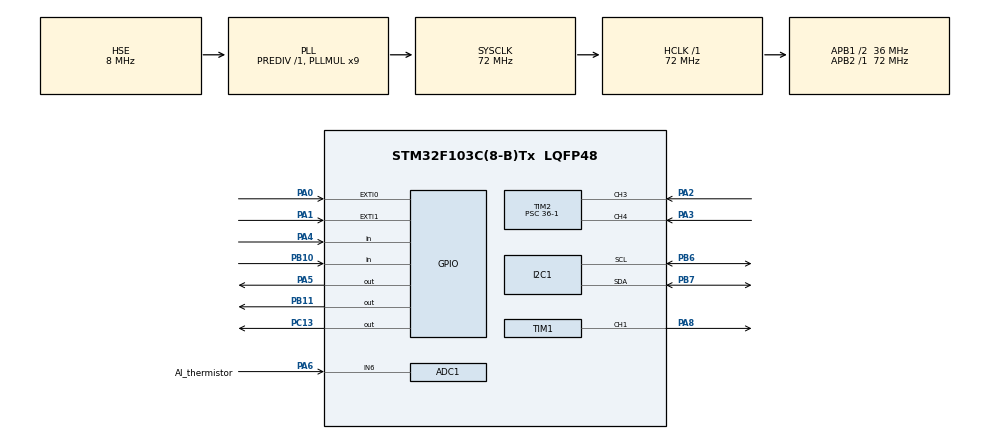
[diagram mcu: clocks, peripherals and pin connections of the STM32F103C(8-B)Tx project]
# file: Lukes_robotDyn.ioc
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ADC1.Channel-0\#ChannelRegularConversion=ADC_CHANNEL_6
ADC1.NbrOfConversionFlag=1
ADC1.Rank-0\#ChannelRegularConversion=1
ADC1.SamplingTime-0\#ChannelRegularConversion=ADC_SAMPLETIME_1CYCLE_5
ADC1.master=1
Mcu.Family=STM32F1
Mcu.Name=STM32F103C(8-B)Tx
Mcu.Package=LQFP48
NVIC.EXTI0_IRQn=true\:0\:0\:false\:false\:true\:true\:true\:true
NVIC.EXTI1_IRQn=true\:0\:0\:false\:false\:true\:true\:true\:true
NVIC.PriorityGroup=NVIC_PRIORITYGROUP_4
NVIC.TIM2_IRQn=true\:0\:0\:false\:false\:true\:true\:true\:true
NVIC.TIM3_IRQn=true\:0\:0\:false\:false\:true\:true\:true\:true
PA0-WKUP.GPIO_ModeDefaultEXTI=GPIO_MODE_IT_RISING_FALLING
PA0-WKUP.GPIO_PuPd=GPIO_PULLUP
PA0-WKUP.Signal=GPXTI0
PA1.GPIO_ModeDefaultEXTI=GPIO_MODE_IT_RISING_FALLING
PA1.GPIO_PuPd=GPIO_PULLUP
PA1.Signal=GPXTI1
PA2.GPIO_PuPd=GPIO_PULLUP
PA2.Signal=S_TIM2_CH3
PA3.GPIO_PuPd=GPIO_PULLUP
PA3.Signal=S_TIM2_CH4
PA4.Signal=GPIO_Input
PA5.Signal=GPIO_Output
PA6.GPIO_Label=AI_thermistor
PA6.Signal=ADCx_IN6
PA8.Signal=S_TIM1_CH1
PB10.Signal=GPIO_Input
PB11.Signal=GPIO_Output
PB6.Mode=I2C
PB6.Signal=I2C1_SCL
PB7.Mode=I2C
PB7.Signal=I2C1_SDA
PC13-TAMPER-RTC.Signal=GPIO_Output
PD0-OSC_IN.Mode=HSE-External-Oscillator
PD0-OSC_IN.Signal=RCC_OSC_IN
PD1-OSC_OUT.Mode=HSE-External-Oscillator
PD1-OSC_OUT.Signal=RCC_OSC_OUT
ProjectManager.HeapSize=0x200
ProjectManager.StackSize=0x400
ProjectManager.TargetToolchain=STM32CubeIDE
RCC.ADCPresc=RCC_ADCPCLK2_DIV6
RCC.AHBFreq_Value=72000000
RCC.APB1CLKDivider=RCC_HCLK_DIV2
RCC.APB1Freq_Value=36000000
RCC.APB1TimFreq_Value=72000000
RCC.APB2Freq_Value=72000000
RCC.APB2TimFreq_Value=72000000
RCC.HCLKFreq_Value=72000000
RCC.PLLMUL=RCC_PLL_MUL9
RCC.PLLSourceVirtual=RCC_PLLSOURCE_HSE
RCC.SYSCLKFreq_VALUE=72000000
RCC.SYSCLKSource=RCC_SYSCLKSOURCE_PLLCLK
RCC.USBFreq_Value=72000000
SH.ADCx_IN6.0=ADC1_IN6,IN6
SH.S_TIM1_CH1.0=TIM1_CH1,PWM Generation1 CH1
SH.S_TIM2_CH3.0=TIM2_CH3,Input_Capture3_from_TI3
SH.S_TIM2_CH4.0=TIM2_CH4,Input_Capture4_from_TI4
TIM1.Channel-PWM\ Generation1\ CH1=TIM_CHANNEL_1
TIM1.Period=1000 - 1
TIM1.Prescaler=720 - 1
TIM2.Channel-Input_Capture3_from_TI3=TIM_CHANNEL_3
TIM2.Channel-Input_Capture4_from_TI4=TIM_CHANNEL_4
TIM2.ICFilter_CH3=8
TIM2.ICFilter_CH4=8
TIM2.Period=100-1
TIM2.Prescaler=36-1
TIM3.Period=1000-1
TIM3.Prescaler=72-1
TIM4.Prescaler=72-1
VP_SYS_VS_ND.Mode=No_Debug
VP_TIM3_VS_ClockSourceINT.Mode=Internal
VP_TIM4_VS_ClockSourceINT.Mode=Internal
board=custom

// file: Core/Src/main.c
/* USER CODE BEGIN Header */
/**
 ******************************************************************************
 * @file           : main.c
 * @brief          : Main program body
 ******************************************************************************
 * @attention
 *
 * Copyright (c) 2024 STMicroelectronics.
 * All rights reserved.
 *
 * This software is licensed under terms that can be found in the LICENSE file
 * in the root directory of this software component.
 * If no LICENSE file comes with this software, it is provided AS-IS.
 *
 ******************************************************************************
 */
/* USER CODE END Header */
#include "main.h"

/* USER CODE BEGIN Includes */
#include "I2C_LCD.h"
#include "I2C_LCD_cfg.h"
#include <stdio.h>
#include <stdbool.h>
#include <string.h>
#include <math.h>
#include <menu.h>
#include <stdlib.h>
/* USER CODE END Includes */

/* USER CODE BEGIN PTD */
typedef union
{
  uint32_t counter;
  volatile uint32_t counterPrev;
  volatile int16_t position;
} EncoderParam;

typedef struct
{
  float kp;
  float ki;
  float previousError;
  float integral;
} PIDController;
/* USER CODE END PTD */

/* USER CODE BEGIN PD */
#define MENU_UP 1
#define MENU_DOWN -1
#define MENU_LEFT 1
#define MENU_RIGHT -1
/* USER CODE END PD */

ADC_HandleTypeDef hadc1;

I2C_HandleTypeDef hi2c1;

TIM_HandleTypeDef htim1;
TIM_HandleTypeDef htim2;
TIM_HandleTypeDef htim3;
TIM_HandleTypeDef htim4;

/* USER CODE BEGIN PV */
float action = 0;
float temp = 15;
PIDController pid = {0.1, 0.01, 0, 0};

float setTemp = 20;
uint16_t setTime = 30;
uint8_t programCountdown = 0;

// uint32_t counter = 0;
char buffer[17];
uint32_t counter = 0;

// Debounce
volatile uint32_t tickCounter = 0;
volatile uint8_t debounceActive = 0;

/* USER CODE END PV */

void SystemClock_Config(void);
static void MX_GPIO_Init(void);
static void MX_TIM2_Init(void);
static void MX_TIM3_Init(void);
static void MX_TIM1_Init(void);
static void MX_I2C1_Init(void);
static void MX_TIM4_Init(void);
static void MX_ADC1_Init(void);
/* USER CODE BEGIN PFP */
/* Private Function Prototypes Declaration*/
void updateLCD(void);

void toggleLED13(void);

void encoderCallback(int8_t direction);

void updateTemperatureControl(uint16_t rawAdc);

void handleEncoderInterrupt(uint16_t GPIO_Pin);
uint16_t handleGetAdc1(void);
void handlerTimerInterrupt(TIM_HandleTypeDef *htim);

float calcThermistorTemp(uint16_t rawAdc);
float calcRegulatorAction(PIDController *pid, float setpoint,
                          float measuredValue);
/* USER CODE END PFP */

/* USER CODE BEGIN 0 */
/* Function Definition*/

// void writeLCDFormattedValue(int row, int column, const char *label, float value) {
//     char buffer[17];
//     sprintf(buffer, "%s%.2f", label, value);
//     I2C_LCD_SetCursor(row, column, 0);
//     I2C_LCD_WriteString(0, buffer);
// }
void updateLCD(void)
{

  MenuItem *pMenuItem = getCurrentMenuItem();
  size_t lengthName = strlen(pMenuItem->name);
  buffer[0] = '\0';
  if (pMenuItem)
  {

    I2C_LCD_ClearRow(0, 0);
    I2C_LCD_WriteString(0, pMenuItem->name);

    if (strcmp(pMenuItem->action, "time") == 0)
    {
      sprintf(buffer, "%d:%02d", pMenuItem->value / 60,
              pMenuItem->value % 60);
      setTime = pMenuItem->value;
    }
    else if (strcmp(pMenuItem->action, "temp") == 0)
    {
      sprintf(buffer, "%d %cC", pMenuItem->value, 0xDF);
      setTemp = pMenuItem->value;
    }
    else if (strcmp(pMenuItem->action, "start") == 0)
    {
      programCountdown = 1;
      I2C_LCD_ClearRow(0, 1);
    }

    if (buffer[0] != '\0')
    {
      I2C_LCD_SetCursor(0, lengthName + 1, 0);
      I2C_LCD_WriteString(0, buffer);
    }
  }
  else
  {
    I2C_LCD_SetCursor(0, 0, 0);
    I2C_LCD_WriteString(0, "ERROR");
  }
}

void resetMenu(void)
{
  programCountdown = 0;
  action = 0;
  setTime = 30;

  I2C_LCD_ClearRow(0, 1);
  I2C_LCD_SetCursor(0, 0, 1);
  I2C_LCD_WriteString(0, "-- DONE --   ");
  moveParentChild(-1);
  moveParentChild(-1);
  updateLCD();
}
//  thermistor measure
float calcThermistorTemp(uint16_t rawAdc)
{
  const uint16_t adcResolution = 4095;
  const uint16_t serialResistance = 10570; // ohm

  // avoid divide by zero
  if (rawAdc == 0)
    return -999;

  // convert rawAdc to resistance of thermistor with 10k
  float resistance = serialResistance * rawAdc / (adcResolution - rawAdc);

  //	 Steinhart-Hart equation
  float temp = log(resistance);
  temp = 1.0 / (0.001129148 + (0.000234125 + (0.0000000876741 * temp * temp)) * temp);
  temp = temp - 273.15;

  // calibration
  //	temp = temp * 1; // gain
  temp = temp - 5; // offset

  return temp;
}

// calculate PI regulation action
float calcRegulatorAction(PIDController *pid, float setpoint,
                          float measuredValue)
{
  const float dt = 0.5;
  float errorLimit = 60;

  float error = setpoint - measuredValue;

  // P
  float proportional = pid->kp * error;

  // I
  // anti wind-up
  pid->integral += error * dt;

  if (pid->integral > errorLimit)
  {
    pid->integral = errorLimit;
  }
  else if (pid->integral < -errorLimit)
  {
    pid->integral = -errorLimit;
  }

  float integral = pid->ki * pid->integral;

  // I
  //	pid->integral += stepError;
  //	integral = pid->ki * pid->integral;

  // D
  // Float derivative = (error - pid->previous_error) / dt;

  float output = proportional + integral;

  // Saturate output to range -1 to 1
  output = (output > 1) ? 1.0f : output;
  output = (output < -1) ? -1.0f : output;

  return output;
}

void toggleLED13(void)
{
  HAL_GPIO_TogglePin(GPIOC, GPIO_PIN_13);
}

void encoderCallback(int8_t direction)
{
  if (!programCountdown)
  {
    moveSibling(direction);
    updateLCD();
  }
}

void handleEncoderInterrupt(uint16_t GPIO_Pin)
{
  static GPIO_PinState A, B, prevA = GPIO_PIN_SET, prevB = GPIO_PIN_SET;

  if (!programCountdown)
  {
    if (GPIO_Pin == GPIO_PIN_0)
    {
      // CCW decoder
      B = HAL_GPIO_ReadPin(GPIOA, GPIO_PIN_1);

      if (B != prevB)
      {
        if (B == GPIO_PIN_SET)
        {
          if (A == GPIO_PIN_RESET)
          {
            encoderCallback(MENU_LEFT);
          }
        }
        prevB = B;
      }
    }

    if (GPIO_Pin == GPIO_PIN_1)
    {
      // CCW decoder
      A = HAL_GPIO_ReadPin(GPIOA, GPIO_PIN_0);

      if (A != prevA)
      {
        if (A == GPIO_PIN_SET)
        {
          if (B == GPIO_PIN_RESET)
          {
            encoderCallback(MENU_RIGHT);
          }
        }
        prevA = A;
      }
    }
  }
}

uint16_t handleGetAdc1(void)
{
  uint16_t rawAdc = 0;
  HAL_ADC_Start(&hadc1);
  if (HAL_ADC_PollForConversion(&hadc1, 10) == HAL_OK)
  {
    rawAdc = HAL_ADC_GetValue(&hadc1);
  }
  HAL_ADC_Stop(&hadc1);
  return rawAdc;
}

void updateTemperatureControl(uint16_t rawAdc)
{
  temp = calcThermistorTemp(rawAdc);
  action = calcRegulatorAction(&pid, setTemp, temp);

  if (action > 0)
  {
    __HAL_TIM_SET_COMPARE(&htim1, TIM_CHANNEL_1, (1000 * action) - 1);
  }
  else
  {
    __HAL_TIM_SET_COMPARE(&htim1, TIM_CHANNEL_1, 0);
  }
}

void handlerTimerInterrupt(TIM_HandleTypeDef *htim)
{
  // interrupt 1ms
  static uint32_t debounceCounter = 0;
  static uint32_t programCounter = 0;

  if (debounceActive)
  {
    debounceCounter++;

    if (debounceCounter >= 500)
    {
      debounceCounter = 0;
      debounceActive = 0;
    }
  }

  if (programCountdown)
  {
    programCounter++;
    if (programCounter >= 500)
    {
      programCounter = 0;
      setTime--;

      toggleLED13();
      updateTemperatureControl(handleGetAdc1());

      if (setTime <= 0)
      {
        resetMenu();
      }
    }
  }
}
/*
 * --- HAL FUNCTIONS ---
 * */

void HAL_GPIO_EXTI_Callback(uint16_t GPIO_Pin)
{
  if (!programCountdown)
  {
    handleEncoderInterrupt(GPIO_Pin);
  }
}

void HAL_TIM_IC_CaptureCallback(TIM_HandleTypeDef *htim)
{
  if (htim->Instance == TIM2)
  {
    if (!debounceActive && !programCountdown)
    {
      if (htim->Channel == HAL_TIM_ACTIVE_CHANNEL_3)
      {
        HAL_GPIO_TogglePin(GPIOA, GPIO_PIN_5);
        moveParentChild(MENU_UP);
        updateLCD();
      }
      if (htim->Channel == HAL_TIM_ACTIVE_CHANNEL_4)
      {
        HAL_GPIO_TogglePin(GPIOA, GPIO_PIN_5);
        moveParentChild(MENU_DOWN);
        updateLCD();
      }
      debounceActive = 1;
      tickCounter = 0;
    }
  }
  else if (htim->Instance == TIM3)
  {
    HAL_GPIO_TogglePin(GPIOA, GPIO_PIN_5);
  }
}

void HAL_TIM_PeriodElapsedCallback(TIM_HandleTypeDef *htim)
{

  if (htim->Instance == TIM3)
  {
    handlerTimerInterrupt(htim);
  }
}

/* USER CODE END 0 */

int main(void)
{

  /* MCU Configuration--------------------------------------------------------*/

  /* Reset of all peripherals, Initializes the Flash interface and the Systick. */
  HAL_Init();

  /* Configure the system clock */
  SystemClock_Config();

  /* Initialize all configured peripherals */
  MX_GPIO_Init();
  MX_TIM2_Init();
  MX_TIM3_Init();
  MX_TIM1_Init();
  MX_I2C1_Init();
  MX_TIM4_Init();
  MX_ADC1_Init();
  /* USER CODE BEGIN 2 */

  HAL_TIM_PWM_Start(&htim1, TIM_CHANNEL_1);
  HAL_TIM_IC_Start_IT(&htim2, TIM_CHANNEL_3);
  HAL_TIM_IC_Start_IT(&htim2, TIM_CHANNEL_4);
  HAL_TIM_Base_Start_IT(&htim3);
  HAL_TIM_Base_Start_IT(&htim4);

  initMenu();

  // Inicializace LCD
  I2C_LCD_Init(0);
  I2C_LCD_Clear(0);

  I2C_LCD_SetCursor(0, 0, 0);
  I2C_LCD_WriteString(0, getCurrentMenuItem()->name);

  /* USER CODE END 2 */

  /* Infinite loop */
  /* USER CODE BEGIN WHILE */
  while (1)
  {
    if (counter > 40)
    {
      counter = 0;
    }
    if (counter % 4 == 0)
    {

      sprintf(buffer, "%ld", counter / 4);
      I2C_LCD_SetCursor(0, 15, 0);
      I2C_LCD_WriteString(0, buffer);
    }

    if (counter % 5 == 0)
    {
      // counter
      I2C_LCD_SetCursor(0, 11, 0);
      int tempset_int = (int)(setTemp);
      sprintf(buffer, "T%d", tempset_int);
      I2C_LCD_WriteString(0, buffer);

      if (programCountdown)
      {
        // row0
        I2C_LCD_SetCursor(0, 0, 0);
        sprintf(buffer, "Count:%d:%02d", setTime / 60, setTime % 60);
        I2C_LCD_SetCursor(0, 0, 0);
        I2C_LCD_WriteString(0, buffer);

        I2C_LCD_SetCursor(0, 0, 1);
        int temp_int = (int)(temp * 10);
        sprintf(buffer, "T:%d.%dC", temp_int / 10, abs(temp_int % 10));
        I2C_LCD_WriteString(0, buffer);

        I2C_LCD_SetCursor(0, 9, 1);
        int action_int = (int)(action * 10);
        if (action_int > 0)
        {
          sprintf(buffer, "A:.%d", abs(action_int % 10));
        }
        else
        {
          sprintf(buffer, "A:-.%d", abs(action_int % 10));
        }
        I2C_LCD_WriteString(0, buffer);
      }
    }
    counter++;
    HAL_Delay(200);
    /* USER CODE END WHILE */

  }
}

void SystemClock_Config(void)
{
  RCC_OscInitTypeDef RCC_OscInitStruct = {0};
  RCC_ClkInitTypeDef RCC_ClkInitStruct = {0};
  RCC_PeriphCLKInitTypeDef PeriphClkInit = {0};

  /** Initializes the RCC Oscillators according to the specified parameters
   * in the RCC_OscInitTypeDef structure.
   */
  RCC_OscInitStruct.OscillatorType = RCC_OSCILLATORTYPE_HSE;
  RCC_OscInitStruct.HSEState = RCC_HSE_ON;
  RCC_OscInitStruct.HSEPredivValue = RCC_HSE_PREDIV_DIV1;
  RCC_OscInitStruct.HSIState = RCC_HSI_ON;
  RCC_OscInitStruct.PLL.PLLState = RCC_PLL_ON;
  RCC_OscInitStruct.PLL.PLLSource = RCC_PLLSOURCE_HSE;
  RCC_OscInitStruct.PLL.PLLMUL = RCC_PLL_MUL9;
  if (HAL_RCC_OscConfig(&RCC_OscInitStruct) != HAL_OK)
  {
    Error_Handler();
  }

  /** Initializes the CPU, AHB and APB buses clocks
   */
  RCC_ClkInitStruct.ClockType = RCC_CLOCKTYPE_HCLK | RCC_CLOCKTYPE_SYSCLK | RCC_CLOCKTYPE_PCLK1 | RCC_CLOCKTYPE_PCLK2;
  RCC_ClkInitStruct.SYSCLKSource = RCC_SYSCLKSOURCE_PLLCLK;
  RCC_ClkInitStruct.AHBCLKDivider = RCC_SYSCLK_DIV1;
  RCC_ClkInitStruct.APB1CLKDivider = RCC_HCLK_DIV2;
  RCC_ClkInitStruct.APB2CLKDivider = RCC_HCLK_DIV1;

  if (HAL_RCC_ClockConfig(&RCC_ClkInitStruct, FLASH_LATENCY_2) != HAL_OK)
  {
    Error_Handler();
  }
  PeriphClkInit.PeriphClockSelection = RCC_PERIPHCLK_ADC;
  PeriphClkInit.AdcClockSelection = RCC_ADCPCLK2_DIV6;
  if (HAL_RCCEx_PeriphCLKConfig(&PeriphClkInit) != HAL_OK)
  {
    Error_Handler();
  }
}

static void MX_ADC1_Init(void)
{

  ADC_ChannelConfTypeDef sConfig = {0};

  /** Common config
   */
  hadc1.Instance = ADC1;
  hadc1.Init.ScanConvMode = ADC_SCAN_DISABLE;
  hadc1.Init.ContinuousConvMode = DISABLE;
  hadc1.Init.DiscontinuousConvMode = DISABLE;
  hadc1.Init.ExternalTrigConv = ADC_SOFTWARE_START;
  hadc1.Init.DataAlign = ADC_DATAALIGN_RIGHT;
  hadc1.Init.NbrOfConversion = 1;
  if (HAL_ADC_Init(&hadc1) != HAL_OK)
  {
    Error_Handler();
  }

  /** Configure Regular Channel
   */
  sConfig.Channel = ADC_CHANNEL_6;
  sConfig.Rank = ADC_REGULAR_RANK_1;
  sConfig.SamplingTime = ADC_SAMPLETIME_1CYCLE_5;
  if (HAL_ADC_ConfigChannel(&hadc1, &sConfig) != HAL_OK)
  {
    Error_Handler();
  }
}

static void MX_I2C1_Init(void)
{

  hi2c1.Instance = I2C1;
  hi2c1.Init.ClockSpeed = 100000;
  hi2c1.Init.DutyCycle = I2C_DUTYCYCLE_2;
  hi2c1.Init.OwnAddress1 = 0;
  hi2c1.Init.AddressingMode = I2C_ADDRESSINGMODE_7BIT;
  hi2c1.Init.DualAddressMode = I2C_DUALADDRESS_DISABLE;
  hi2c1.Init.OwnAddress2 = 0;
  hi2c1.Init.GeneralCallMode = I2C_GENERALCALL_DISABLE;
  hi2c1.Init.NoStretchMode = I2C_NOSTRETCH_DISABLE;
  if (HAL_I2C_Init(&hi2c1) != HAL_OK)
  {
    Error_Handler();
  }
}

static void MX_TIM1_Init(void)
{

  TIM_MasterConfigTypeDef sMasterConfig = {0};
  TIM_OC_InitTypeDef sConfigOC = {0};
  TIM_BreakDeadTimeConfigTypeDef sBreakDeadTimeConfig = {0};

  htim1.Instance = TIM1;
  htim1.Init.Prescaler = 720 - 1;
  htim1.Init.CounterMode = TIM_COUNTERMODE_UP;
  htim1.Init.Period = 1000 - 1;
  htim1.Init.ClockDivision = TIM_CLOCKDIVISION_DIV1;
  htim1.Init.RepetitionCounter = 0;
  htim1.Init.AutoReloadPreload = TIM_AUTORELOAD_PRELOAD_DISABLE;
  if (HAL_TIM_PWM_Init(&htim1) != HAL_OK)
  {
    Error_Handler();
  }
  sMasterConfig.MasterOutputTrigger = TIM_TRGO_RESET;
  sMasterConfig.MasterSlaveMode = TIM_MASTERSLAVEMODE_DISABLE;
  if (HAL_TIMEx_MasterConfigSynchronization(&htim1, &sMasterConfig) != HAL_OK)
  {
    Error_Handler();
  }
  sConfigOC.OCMode = TIM_OCMODE_PWM1;
  sConfigOC.Pulse = 0;
  sConfigOC.OCPolarity = TIM_OCPOLARITY_HIGH;
  sConfigOC.OCNPolarity = TIM_OCNPOLARITY_HIGH;
  sConfigOC.OCFastMode = TIM_OCFAST_DISABLE;
  sConfigOC.OCIdleState = TIM_OCIDLESTATE_RESET;
  sConfigOC.OCNIdleState = TIM_OCNIDLESTATE_RESET;
  if (HAL_TIM_PWM_ConfigChannel(&htim1, &sConfigOC, TIM_CHANNEL_1) != HAL_OK)
  {
    Error_Handler();
  }
  sBreakDeadTimeConfig.OffStateRunMode = TIM_OSSR_DISABLE;
  sBreakDeadTimeConfig.OffStateIDLEMode = TIM_OSSI_DISABLE;
  sBreakDeadTimeConfig.LockLevel = TIM_LOCKLEVEL_OFF;
  sBreakDeadTimeConfig.DeadTime = 0;
  sBreakDeadTimeConfig.BreakState = TIM_BREAK_DISABLE;
  sBreakDeadTimeConfig.BreakPolarity = TIM_BREAKPOLARITY_HIGH;
  sBreakDeadTimeConfig.AutomaticOutput = TIM_AUTOMATICOUTPUT_DISABLE;
  if (HAL_TIMEx_ConfigBreakDeadTime(&htim1, &sBreakDeadTimeConfig) != HAL_OK)
  {
    Error_Handler();
  }
  HAL_TIM_MspPostInit(&htim1);
}

static void MX_TIM2_Init(void)
{

  TIM_MasterConfigTypeDef sMasterConfig = {0};
  TIM_IC_InitTypeDef sConfigIC = {0};

  htim2.Instance = TIM2;
  htim2.Init.Prescaler = 36 - 1;
  htim2.Init.CounterMode = TIM_COUNTERMODE_UP;
  htim2.Init.Period = 100 - 1;
  htim2.Init.ClockDivision = TIM_CLOCKDIVISION_DIV1;
  htim2.Init.AutoReloadPreload = TIM_AUTORELOAD_PRELOAD_DISABLE;
  if (HAL_TIM_IC_Init(&htim2) != HAL_OK)
  {
    Error_Handler();
  }
  sMasterConfig.MasterOutputTrigger = TIM_TRGO_RESET;
  sMasterConfig.MasterSlaveMode = TIM_MASTERSLAVEMODE_DISABLE;
  if (HAL_TIMEx_MasterConfigSynchronization(&htim2, &sMasterConfig) != HAL_OK)
  {
    Error_Handler();
  }
  sConfigIC.ICPolarity = TIM_INPUTCHANNELPOLARITY_RISING;
  sConfigIC.ICSelection = TIM_ICSELECTION_DIRECTTI;
  sConfigIC.ICPrescaler = TIM_ICPSC_DIV1;
  sConfigIC.ICFilter = 8;
  if (HAL_TIM_IC_ConfigChannel(&htim2, &sConfigIC, TIM_CHANNEL_3) != HAL_OK)
  {
    Error_Handler();
  }
  if (HAL_TIM_IC_ConfigChannel(&htim2, &sConfigIC, TIM_CHANNEL_4) != HAL_OK)
  {
    Error_Handler();
  }
}

static void MX_TIM3_Init(void)
{

  TIM_ClockConfigTypeDef sClockSourceConfig = {0};
  TIM_MasterConfigTypeDef sMasterConfig = {0};

  htim3.Instance = TIM3;
  htim3.Init.Prescaler = 72 - 1;
  htim3.Init.CounterMode = TIM_COUNTERMODE_UP;
  htim3.Init.Period = 1000 - 1;
  htim3.Init.ClockDivision = TIM_CLOCKDIVISION_DIV1;
  htim3.Init.AutoReloadPreload = TIM_AUTORELOAD_PRELOAD_DISABLE;
  if (HAL_TIM_Base_Init(&htim3) != HAL_OK)
  {
    Error_Handler();
  }
  sClockSourceConfig.ClockSource = TIM_CLOCKSOURCE_INTERNAL;
  if (HAL_TIM_ConfigClockSource(&htim3, &sClockSourceConfig) != HAL_OK)
  {
    Error_Handler();
  }
  sMasterConfig.MasterOutputTrigger = TIM_TRGO_RESET;
  sMasterConfig.MasterSlaveMode = TIM_MASTERSLAVEMODE_DISABLE;
  if (HAL_TIMEx_MasterConfigSynchronization(&htim3, &sMasterConfig) != HAL_OK)
  {
    Error_Handler();
  }
}

static void MX_TIM4_Init(void)
{

  TIM_ClockConfigTypeDef sClockSourceConfig = {0};
  TIM_MasterConfigTypeDef sMasterConfig = {0};

  htim4.Instance = TIM4;
  htim4.Init.Prescaler = 72 - 1;
  htim4.Init.CounterMode = TIM_COUNTERMODE_UP;
  htim4.Init.Period = 65535;
  htim4.Init.ClockDivision = TIM_CLOCKDIVISION_DIV1;
  htim4.Init.AutoReloadPreload = TIM_AUTORELOAD_PRELOAD_DISABLE;
  if (HAL_TIM_Base_Init(&htim4) != HAL_OK)
  {
    Error_Handler();
  }
  sClockSourceConfig.ClockSource = TIM_CLOCKSOURCE_INTERNAL;
  if (HAL_TIM_ConfigClockSource(&htim4, &sClockSourceConfig) != HAL_OK)
  {
    Error_Handler();
  }
  sMasterConfig.MasterOutputTrigger = TIM_TRGO_RESET;
  sMasterConfig.MasterSlaveMode = TIM_MASTERSLAVEMODE_DISABLE;
  if (HAL_TIMEx_MasterConfigSynchronization(&htim4, &sMasterConfig) != HAL_OK)
  {
    Error_Handler();
  }
}

static void MX_GPIO_Init(void)
{
  GPIO_InitTypeDef GPIO_InitStruct = {0};

  /* GPIO Ports Clock Enable */
  __HAL_RCC_GPIOC_CLK_ENABLE();
  __HAL_RCC_GPIOD_CLK_ENABLE();
  __HAL_RCC_GPIOA_CLK_ENABLE();
  __HAL_RCC_GPIOB_CLK_ENABLE();

  /*Configure GPIO pin Output Level */
  HAL_GPIO_WritePin(GPIOC, GPIO_PIN_13, GPIO_PIN_RESET);

  /*Configure GPIO pin Output Level */
  HAL_GPIO_WritePin(GPIOA, GPIO_PIN_5, GPIO_PIN_RESET);

  /*Configure GPIO pin Output Level */
  HAL_GPIO_WritePin(GPIOB, GPIO_PIN_11, GPIO_PIN_RESET);

  /*Configure GPIO pin : PC13 */
  GPIO_InitStruct.Pin = GPIO_PIN_13;
  GPIO_InitStruct.Mode = GPIO_MODE_OUTPUT_PP;
  GPIO_InitStruct.Pull = GPIO_NOPULL;
  GPIO_InitStruct.Speed = GPIO_SPEED_FREQ_LOW;
  HAL_GPIO_Init(GPIOC, &GPIO_InitStruct);

  /*Configure GPIO pins : PA0 PA1 */
  GPIO_InitStruct.Pin = GPIO_PIN_0 | GPIO_PIN_1;
  GPIO_InitStruct.Mode = GPIO_MODE_IT_RISING_FALLING;
  GPIO_InitStruct.Pull = GPIO_PULLUP;
  HAL_GPIO_Init(GPIOA, &GPIO_InitStruct);

  /*Configure GPIO pin : PA4 */
  GPIO_InitStruct.Pin = GPIO_PIN_4;
  GPIO_InitStruct.Mode = GPIO_MODE_INPUT;
  GPIO_InitStruct.Pull = GPIO_NOPULL;
  HAL_GPIO_Init(GPIOA, &GPIO_InitStruct);

  /*Configure GPIO pin : PA5 */
  GPIO_InitStruct.Pin = GPIO_PIN_5;
  GPIO_InitStruct.Mode = GPIO_MODE_OUTPUT_PP;
  GPIO_InitStruct.Pull = GPIO_NOPULL;
  GPIO_InitStruct.Speed = GPIO_SPEED_FREQ_LOW;
  HAL_GPIO_Init(GPIOA, &GPIO_InitStruct);

  /*Configure GPIO pin : PB10 */
  GPIO_InitStruct.Pin = GPIO_PIN_10;
  GPIO_InitStruct.Mode = GPIO_MODE_INPUT;
  GPIO_InitStruct.Pull = GPIO_NOPULL;
  HAL_GPIO_Init(GPIOB, &GPIO_InitStruct);

  /*Configure GPIO pin : PB11 */
  GPIO_InitStruct.Pin = GPIO_PIN_11;
  GPIO_InitStruct.Mode = GPIO_MODE_OUTPUT_PP;
  GPIO_InitStruct.Pull = GPIO_NOPULL;
  GPIO_InitStruct.Speed = GPIO_SPEED_FREQ_LOW;
  HAL_GPIO_Init(GPIOB, &GPIO_InitStruct);

  /* EXTI interrupt init*/
  HAL_NVIC_SetPriority(EXTI0_IRQn, 0, 0);
  HAL_NVIC_EnableIRQ(EXTI0_IRQn);

  HAL_NVIC_SetPriority(EXTI1_IRQn, 0, 0);
  HAL_NVIC_EnableIRQ(EXTI1_IRQn);

}

void Error_Handler(void)
{
  __disable_irq();
  while (1)
  {
  }
}
